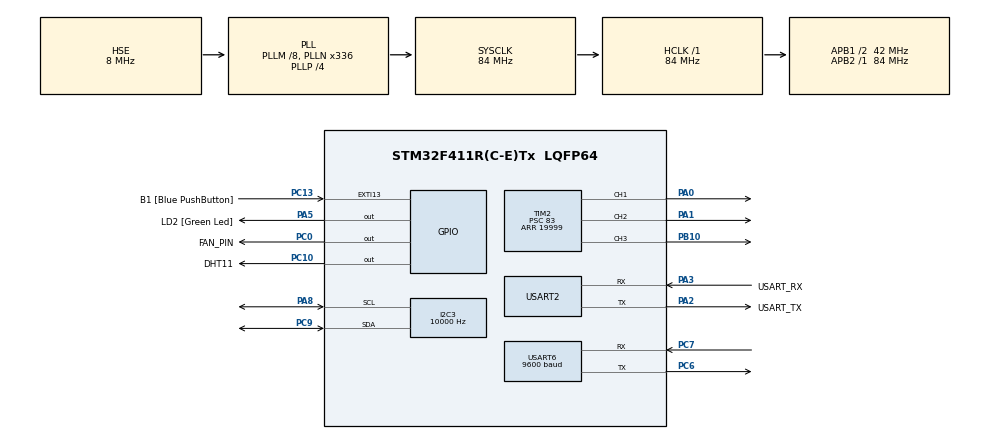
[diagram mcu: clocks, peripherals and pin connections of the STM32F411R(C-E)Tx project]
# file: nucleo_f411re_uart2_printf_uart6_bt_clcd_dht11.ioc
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I2C3.ClockSpeed=10000
Mcu.Family=STM32F4
Mcu.Name=STM32F411R(C-E)Tx
Mcu.Package=LQFP64
NVIC.PriorityGroup=NVIC_PRIORITYGROUP_0
NVIC.USART2_IRQn=true\:0\:0\:false\:false\:true\:true\:true\:true
NVIC.USART6_IRQn=true\:0\:0\:false\:false\:true\:true\:true\:true
PA0-WKUP.Signal=S_TIM2_CH1_ETR
PA1.Signal=S_TIM2_CH2
PA13.GPIO_Label=TMS
PA13.Mode=Serial_Wire
PA13.Signal=SYS_JTMS-SWDIO
PA14.GPIO_Label=TCK
PA14.Mode=Serial_Wire
PA14.Signal=SYS_JTCK-SWCLK
PA2.GPIO_Label=USART_TX
PA2.Mode=Asynchronous
PA2.Signal=USART2_TX
PA3.GPIO_Label=USART_RX
PA3.Mode=Asynchronous
PA3.Signal=USART2_RX
PA5.GPIO_Label=LD2 [Green Led]
PA5.Signal=GPIO_Output
PA8.Mode=I2C
PA8.Signal=I2C3_SCL
PB10.Signal=S_TIM2_CH3
PB3.GPIO_Label=SWO
PB3.Signal=SYS_JTDO-SWO
PC0.GPIO_Label=FAN_PIN
PC0.Signal=GPIO_Output
PC10.GPIO_Label=DHT11
PC10.Signal=GPIO_Output
PC13-ANTI_TAMP.GPIO_Label=B1 [Blue PushButton]
PC13-ANTI_TAMP.GPIO_ModeDefaultEXTI=GPIO_MODE_IT_FALLING
PC13-ANTI_TAMP.Signal=GPXTI13
PC14-OSC32_IN.Mode=LSE-External-Oscillator
PC14-OSC32_IN.Signal=RCC_OSC32_IN
PC15-OSC32_OUT.Mode=LSE-External-Oscillator
PC15-OSC32_OUT.Signal=RCC_OSC32_OUT
PC6.Mode=Asynchronous
PC6.Signal=USART6_TX
PC7.Mode=Asynchronous
PC7.Signal=USART6_RX
PC9.Mode=I2C
PC9.Signal=I2C3_SDA
PH0\ -\ OSC_IN.Mode=HSE-External-Clock-Source
PH0\ -\ OSC_IN.Signal=RCC_OSC_IN
PH1\ -\ OSC_OUT.Mode=HSE-External-Clock-Source
PH1\ -\ OSC_OUT.Signal=RCC_OSC_OUT
ProjectManager.HeapSize=0x200
ProjectManager.StackSize=0x400
ProjectManager.TargetToolchain=STM32CubeIDE
RCC.48MHZClocksFreq_Value=84000000
RCC.AHBFreq_Value=84000000
RCC.APB1CLKDivider=RCC_HCLK_DIV2
RCC.APB1Freq_Value=42000000
RCC.APB1TimFreq_Value=84000000
RCC.APB2Freq_Value=84000000
RCC.APB2TimFreq_Value=84000000
RCC.CortexFreq_Value=84000000
RCC.FLatency-AdvancedSettings=FLASH_LATENCY_2
RCC.HCLKFreq_Value=84000000
RCC.HSE_VALUE=8000000
RCC.HSI_VALUE=16000000
RCC.PLLM=8
RCC.PLLN=336
RCC.PLLP=RCC_PLLP_DIV4
RCC.PLLSourceVirtual=RCC_PLLSOURCE_HSE
RCC.SYSCLKFreq_VALUE=84000000
RCC.SYSCLKSource=RCC_SYSCLKSOURCE_PLLCLK
RCC.VCOOutputFreq_Value=336000000
SH.S_TIM2_CH1_ETR.0=TIM2_CH1,PWM Generation1 CH1
SH.S_TIM2_CH2.0=TIM2_CH2,PWM Generation2 CH2
SH.S_TIM2_CH3.0=TIM2_CH3,PWM Generation3 CH3
TIM2.Channel-PWM\ Generation1\ CH1=TIM_CHANNEL_1
TIM2.Channel-PWM\ Generation2\ CH2=TIM_CHANNEL_2
TIM2.Channel-PWM\ Generation3\ CH3=TIM_CHANNEL_3
TIM2.Period=19999
TIM2.Prescaler=83
TIM2.Pulse-PWM\ Generation1\ CH1=1500
TIM2.Pulse-PWM\ Generation2\ CH2=1500
TIM2.Pulse-PWM\ Generation3\ CH3=1500
USART2.VirtualMode=VM_ASYNC
USART6.BaudRate=9600
USART6.VirtualMode=VM_ASYNC
VP_TIM2_VS_ClockSourceINT.Mode=Internal
board=NUCLEO-F411RE

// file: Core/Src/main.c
/* USER CODE BEGIN Header */
/**
  ******************************************************************************
  * @file           : main.c
  * @brief          : Smart Medicine Dispenser - STM32 Main
  ******************************************************************************
  */
/* USER CODE END Header */

#include "main.h"

/* USER CODE BEGIN Includes */
#include <stdio.h>
#include <string.h>
#include <stdlib.h>
#include <clcd.h>
#include <dht.h>
#include <servo.h>
/* USER CODE END Includes */

/* USER CODE BEGIN PD */
#ifdef __GNUC__
#define PUTCHAR_PROTOTYPE int __io_putchar(int ch)
#else
#define PUTCHAR_PROTOTYPE int fputc(int ch, FILE *f)
#endif

#define ARR_CNT       6
#define CMD_SIZE      100
#define TEMP_FAN      25    // 팬 작동 온도 기준 (°C)
#define TEMP_WARNING  30    // 경고 온도 기준 (°C)
/* USER CODE END PD */

I2C_HandleTypeDef hi2c3;
TIM_HandleTypeDef htim2;
UART_HandleTypeDef huart2;
UART_HandleTypeDef huart6;

/* USER CODE BEGIN PV */
uint8_t rx2char;
volatile unsigned char rx2Flag = 0;
volatile char rx2Data[50];

volatile unsigned char btFlag = 0;
uint8_t btchar;
char btData[100];

char currentUserID[20] = {0};
/* USER CODE END PV */

void SystemClock_Config(void);
static void MX_GPIO_Init(void);
static void MX_USART2_UART_Init(void);
static void MX_USART6_UART_Init(void);
static void MX_I2C3_Init(void);
static void MX_TIM2_Init(void);

/* USER CODE BEGIN PFP */
void bluetooth_Event(void);
void request_medicine(char *userID);
/* USER CODE END PFP */

int main(void)
{
    HAL_Init();
    SystemClock_Config();

    MX_GPIO_Init();
    MX_USART2_UART_Init();
    MX_USART6_UART_Init();
    MX_I2C3_Init();
    MX_TIM2_Init();

    /* USER CODE BEGIN 2 */
    HAL_UART_Receive_IT(&huart2, &rx2char, 1);
    HAL_UART_Receive_IT(&huart6, &btchar,  1);

    DHT11_Init();
    LCD_init(&hi2c3);

    HAL_TIM_PWM_Start(&htim2, TIM_CHANNEL_1);  // SERVO1
    HAL_TIM_PWM_Start(&htim2, TIM_CHANNEL_2);  // SERVO2
    HAL_TIM_PWM_Start(&htim2, TIM_CHANNEL_3);  // SERVO3

    // 팬 초기 OFF
    HAL_GPIO_WritePin(GPIOC, FAN_PIN_Pin, GPIO_PIN_RESET);

    DHT11_TypeDef dht11Data;
    char buff[30];

    LCD_writeStringXY(0, 0, "SmartDispenser ");
    LCD_writeStringXY(1, 0, "Ready...       ");
    printf("start main()\r\n");
    /* USER CODE END 2 */

    /* USER CODE BEGIN WHILE */
    while (1)
    {
        /* ── USART2: UserID 입력 (테스트용 시리얼) ── */
        if (rx2Flag)
        {
            printf("recv2 : %s\r\n", rx2Data);
            strcpy(currentUserID, (char*)rx2Data);
            request_medicine(currentUserID);
            rx2Flag = 0;
        }

        /* ── USART6: 블루투스 수신 처리 ── */
        if (btFlag)
        {
            btFlag = 0;
            bluetooth_Event();
        }

        /* ── 환경 모니터링: DHT11 읽기 ── */
        dht11Data = DHT11_readData();
        int temp = dht11Data.temp_byte1;
        int humi = dht11Data.rh_byte1;

        /* ── 온도 기반 팬 제어 ── */
        if (temp >= TEMP_WARNING)
        {
            // 경고 온도 이상 → 팬 ON + LCD 경고
            HAL_GPIO_WritePin(GPIOC, FAN_PIN_Pin, GPIO_PIN_SET);
            LCD_writeStringXY(0, 0, "!!TEMP ALERT!!! ");
            printf("경고: 온도 %d도 초과!\r\n", temp);
        }
        else if (temp >= TEMP_FAN)
        {
            // 기준 온도 이상 → 팬 ON
            HAL_GPIO_WritePin(GPIOC, FAN_PIN_Pin, GPIO_PIN_SET);
            LCD_writeStringXY(0, 0, "Fan ON          ");
        }
        else
        {
            // 정상 온도 → 팬 OFF
            HAL_GPIO_WritePin(GPIOC, FAN_PIN_Pin, GPIO_PIN_RESET);
            LCD_writeStringXY(0, 0, "SmartDispenser  ");
        }

        // LCD 2행: 온습도 표시
        sprintf(buff, "h:%d%% t:%d'C    ", humi, temp);
        LCD_writeStringXY(1, 0, buff);

        /* ── 환경 데이터: 5초마다 라즈베리파이 전송 ── */
        static uint32_t lastEnvTick = 0;
        if (HAL_GetTick() - lastEnvTick >= 10000)
        {
            char envBuf[CMD_SIZE];
            sprintf(envBuf, "[ENV@TEMP:%d.%d@HUM:%d]\n",
                    dht11Data.temp_byte1,
                    dht11Data.temp_byte2,
                    dht11Data.rh_byte1);
            HAL_UART_Transmit(&huart6, (uint8_t*)envBuf,
                              strlen(envBuf), 0xFFFF);
            lastEnvTick = HAL_GetTick();
        }

        HAL_Delay(500);
        /* USER CODE END WHILE */

    }
}

/* ============================================================
 * request_medicine()
 * UserID 입력 시 DOC에 PICKUP 요청
 * ============================================================ */
void request_medicine(char *userID)
{
    char reqBuf[CMD_SIZE] = {0};
    sprintf(reqBuf, "[DOC]PICKUP@%s\n", userID);
    HAL_UART_Transmit(&huart6, (uint8_t*)reqBuf,
                      strlen(reqBuf), 0xFFFF);
    printf("PICKUP 요청: %s\r\n", reqBuf);
    LCD_writeStringXY(0, 0, "Requesting...  ");
}

/* ============================================================
 * bluetooth_Event()
 * ============================================================ */
void bluetooth_Event(void)
{
    int i = 0;
    char *pToken;
    char *pArray[ARR_CNT] = {0};
    char recvBuf[CMD_SIZE] = {0};

    strncpy(recvBuf, btData, CMD_SIZE - 1);
    printf("btData : %s\r\n", btData);

    pToken = strtok(recvBuf, "[@]");
    while (pToken != NULL) {
        pArray[i] = pToken;
        if (++i >= ARR_CNT) break;
        pToken = strtok(NULL, "[@]");
    }

    if (i < 2 || pArray[1] == NULL) return;

    /* ──────────────────────────────────────────────
     * [1] DOC → STM32 : PICKUP 응답
     * 성공: [STM]PICKUP@Tylenol@2@1
     *   pArray[2] = 약이름
     *   pArray[3] = 개수
     *   pArray[4] = ServoChannel (1=CH1, 2=CH2, 3=CH3)
     * 실패: [STM]PICKUP@FAIL_XXX@0
     * ────────────────────────────────────────────── */
    if (!strcmp(pArray[1], "PICKUP"))
    {
        if (pArray[2] == NULL) return;

        /* ── 실패 처리 ── */
        if (!strncmp(pArray[2], "FAIL", 4))
        {
            printf("PICKUP 실패: %s\r\n", pArray[2]);

            if      (!strcmp(pArray[2], "FAIL_EMPTY"))
                LCD_writeStringXY(0, 0, "No Prescription");
            else if (!strcmp(pArray[2], "FAIL_DB"))
                LCD_writeStringXY(0, 0, "DB Error       ");
            else if (!strcmp(pArray[2], "FAIL_STOCK"))
                LCD_writeStringXY(0, 0, "Out of Stock!  ");
            else if (!strcmp(pArray[2], "FAIL_24H_LIMIT"))
                LCD_writeStringXY(0, 0, "24H Limit!     ");
            else if (!strcmp(pArray[2], "FAIL_TOTAL_LIMIT"))
                LCD_writeStringXY(0, 0, "Total Limit!   ");
            else if (!strcmp(pArray[2], "FAIL_OVERDOSE"))
                LCD_writeStringXY(0, 0, "Overdose Risk! ");
            else if (!strcmp(pArray[2], "FAIL_AGE_LIMIT"))
                LCD_writeStringXY(0, 0, "Age Restricted!");
            else if (!strcmp(pArray[2], "FAIL_ALLERGY"))
                LCD_writeStringXY(0, 0, "Allergy Alert! ");
            else
                LCD_writeStringXY(0, 0, "Error!         ");

            memset(currentUserID, 0, sizeof(currentUserID));
            return;
        }

        /* ── 성공: 배출 승인 ── */
        char    *medName      = pArray[2];
        uint8_t  count        = (pArray[3] != NULL) ? atoi(pArray[3]) : 0;
        uint8_t  servo_ch_num = (pArray[4] != NULL) ? atoi(pArray[4]) : 1;

        if (count == 0) {
            LCD_writeStringXY(0, 0, "Count Error!   ");
            memset(currentUserID, 0, sizeof(currentUserID));
            return;
        }

        /* DB에서 받은 ServoChannel 사용 */
        uint32_t channel;
        switch (servo_ch_num) {
            case 1:  channel = TIM_CHANNEL_1; break;
            case 2:  channel = TIM_CHANNEL_2; break;
            case 3:  channel = TIM_CHANNEL_3; break;
            default: channel = TIM_CHANNEL_1; break;
        }

        printf("배출 승인: %s %d알 ServoChannel:%d\r\n",
               medName, count, servo_ch_num);
        LCD_writeStringXY(0, 0, "Dispensing...  ");

        /* 서보 작동 */
        dispense_n(channel, count);

        /* 배출 완료 → DOC에 알림 */
        char doneBuf[CMD_SIZE] = {0};
        sprintf(doneBuf, "[DOC]PICKUP_DONE@%s@%s@%d\n",
                currentUserID, medName, count);
        HAL_UART_Transmit(&huart6, (uint8_t*)doneBuf,
                          strlen(doneBuf), 0xFFFF);

        LCD_writeStringXY(0, 0, "Done!          ");
        printf("배출 완료: %s\r\n", doneBuf);

        memset(currentUserID, 0, sizeof(currentUserID));
    }

    /* ──────────────────────────────────────────────
     * [2] DOC → STM32 : PRESCRIPTION 알림 (예약 완료)
     * ────────────────────────────────────────────── */
    else if (!strcmp(pArray[1], "PRESCRIPTION"))
    {
        if (pArray[2] == NULL) return;

        if (!strncmp(pArray[2], "FAIL", 4)) {
            printf("PRESCRIPTION 실패: %s\r\n", pArray[2]);

            if      (!strcmp(pArray[2], "FAIL_SYMPTOM"))
                LCD_writeStringXY(0, 0, "Unknown Symptom");
            else if (!strcmp(pArray[2], "FAIL_ALLERGY"))
                LCD_writeStringXY(0, 0, "Allergy Alert! ");
            else if (!strcmp(pArray[2], "FAIL_24H_LIMIT"))
                LCD_writeStringXY(0, 0, "24H Limit!     ");
            else if (!strcmp(pArray[2], "FAIL_TOTAL_LIMIT"))
                LCD_writeStringXY(0, 0, "Total Limit!   ");
            else if (!strcmp(pArray[2], "FAIL_OVERDOSE"))
                LCD_writeStringXY(0, 0, "Overdose Risk! ");
            else if (!strcmp(pArray[2], "FAIL_AGE_LIMIT"))
                LCD_writeStringXY(0, 0, "Age Restricted!");
            else if (!strcmp(pArray[2], "FAIL_ALREADY_RESERVED"))
                LCD_writeStringXY(0, 0, "Already Reservd");
            else
                LCD_writeStringXY(0, 0, "Prescrip. Fail ");
        }
        else {
            printf("처방 예약 완료: %s %s알\r\n",
                   pArray[2], pArray[3] ? pArray[3] : "?");
            LCD_writeStringXY(0, 0, "Reserved!      ");
        }
    }

    /* ──────────────────────────────────────────────
     * [3] 테스트용 직접 명령
     * ────────────────────────────────────────────── */
    else if (!strcmp(pArray[1], "DISPENSE"))
    {
        if (pArray[2] == NULL || pArray[3] == NULL || pArray[4] == NULL)
            return;

        uint8_t cnt1 = atoi(strchr(pArray[2], ':') + 1);
        uint8_t cnt2 = atoi(strchr(pArray[3], ':') + 1);
        uint8_t cnt3 = atoi(strchr(pArray[4], ':') + 1);

        dispense_n(TIM_CHANNEL_1, cnt1);
        dispense_n(TIM_CHANNEL_2, cnt2);
        dispense_n(TIM_CHANNEL_3, cnt3);

        char doneBuf[CMD_SIZE] = {0};
        sprintf(doneBuf, "[DONE@%s@%s@%s]\n",
                pArray[2], pArray[3], pArray[4]);
        HAL_UART_Transmit(&huart6, (uint8_t*)doneBuf,
                          strlen(doneBuf), 0xFFFF);
    }
}

/* ============================================================
 * HAL_UART_RxCpltCallback
 * ============================================================ */
void HAL_UART_RxCpltCallback(UART_HandleTypeDef *huart)
{
    if (huart->Instance == USART2)
    {
        static int i = 0;
        rx2Data[i] = rx2char;
        if ((rx2Data[i] == '\r') || (rx2Data[i] == '\n'))
        {
            rx2Data[i] = '\0';
            rx2Flag = 1;
            i = 0;
        }
        else
        {
            if (i < 48) i++;
        }
        HAL_UART_Receive_IT(&huart2, &rx2char, 1);
    }

    if (huart->Instance == USART6)
    {
        static int i = 0;
        btData[i] = btchar;
        if ((btData[i] == '\n') || (btData[i] == '\r'))
        {
            btData[i] = '\0';
            btFlag = 1;
            i = 0;
        }
        else
        {
            if (i < 98) i++;
        }
        HAL_UART_Receive_IT(&huart6, &btchar, 1);
    }
}

/* ============================================================
 * printf → USART2 리다이렉트
 * ============================================================ */
PUTCHAR_PROTOTYPE
{
    HAL_UART_Transmit(&huart2, (uint8_t*)&ch, 1, 0xFFFF);
    return ch;
}

/* ============================================================
 * 주변장치 초기화 (CubeMX 생성)
 * ============================================================ */
void SystemClock_Config(void)
{
    RCC_OscInitTypeDef RCC_OscInitStruct = {0};
    RCC_ClkInitTypeDef RCC_ClkInitStruct = {0};

    __HAL_RCC_PWR_CLK_ENABLE();
    __HAL_PWR_VOLTAGESCALING_CONFIG(PWR_REGULATOR_VOLTAGE_SCALE1);

    RCC_OscInitStruct.OscillatorType = RCC_OSCILLATORTYPE_HSE;
    RCC_OscInitStruct.HSEState       = RCC_HSE_BYPASS;
    RCC_OscInitStruct.PLL.PLLState   = RCC_PLL_ON;
    RCC_OscInitStruct.PLL.PLLSource  = RCC_PLLSOURCE_HSE;
    RCC_OscInitStruct.PLL.PLLM = 8;
    RCC_OscInitStruct.PLL.PLLN = 336;
    RCC_OscInitStruct.PLL.PLLP = RCC_PLLP_DIV4;
    RCC_OscInitStruct.PLL.PLLQ = 4;
    if (HAL_RCC_OscConfig(&RCC_OscInitStruct) != HAL_OK) Error_Handler();

    RCC_ClkInitStruct.ClockType      = RCC_CLOCKTYPE_HCLK | RCC_CLOCKTYPE_SYSCLK
                                     | RCC_CLOCKTYPE_PCLK1 | RCC_CLOCKTYPE_PCLK2;
    RCC_ClkInitStruct.SYSCLKSource   = RCC_SYSCLKSOURCE_PLLCLK;
    RCC_ClkInitStruct.AHBCLKDivider  = RCC_SYSCLK_DIV1;
    RCC_ClkInitStruct.APB1CLKDivider = RCC_HCLK_DIV2;
    RCC_ClkInitStruct.APB2CLKDivider = RCC_HCLK_DIV1;
    if (HAL_RCC_ClockConfig(&RCC_ClkInitStruct, FLASH_LATENCY_2) != HAL_OK) Error_Handler();
}

static void MX_I2C3_Init(void)
{
    hi2c3.Instance              = I2C3;
    hi2c3.Init.ClockSpeed       = 10000;
    hi2c3.Init.DutyCycle        = I2C_DUTYCYCLE_2;
    hi2c3.Init.OwnAddress1      = 0;
    hi2c3.Init.AddressingMode   = I2C_ADDRESSINGMODE_7BIT;
    hi2c3.Init.DualAddressMode  = I2C_DUALADDRESS_DISABLE;
    hi2c3.Init.OwnAddress2      = 0;
    hi2c3.Init.GeneralCallMode  = I2C_GENERALCALL_DISABLE;
    hi2c3.Init.NoStretchMode    = I2C_NOSTRETCH_DISABLE;
    if (HAL_I2C_Init(&hi2c3) != HAL_OK) Error_Handler();
}

static void MX_TIM2_Init(void)
{
    TIM_ClockConfigTypeDef  sClockSourceConfig = {0};
    TIM_MasterConfigTypeDef sMasterConfig      = {0};
    TIM_OC_InitTypeDef      sConfigOC          = {0};

    htim2.Instance               = TIM2;
    htim2.Init.Prescaler         = 83;
    htim2.Init.CounterMode       = TIM_COUNTERMODE_UP;
    htim2.Init.Period            = 19999;
    htim2.Init.ClockDivision     = TIM_CLOCKDIVISION_DIV1;
    htim2.Init.AutoReloadPreload = TIM_AUTORELOAD_PRELOAD_DISABLE;
    if (HAL_TIM_Base_Init(&htim2) != HAL_OK) Error_Handler();

    sClockSourceConfig.ClockSource = TIM_CLOCKSOURCE_INTERNAL;
    if (HAL_TIM_ConfigClockSource(&htim2, &sClockSourceConfig) != HAL_OK) Error_Handler();
    if (HAL_TIM_PWM_Init(&htim2) != HAL_OK) Error_Handler();

    sMasterConfig.MasterOutputTrigger = TIM_TRGO_RESET;
    sMasterConfig.MasterSlaveMode     = TIM_MASTERSLAVEMODE_DISABLE;
    if (HAL_TIMEx_MasterConfigSynchronization(&htim2, &sMasterConfig) != HAL_OK) Error_Handler();

    sConfigOC.OCMode     = TIM_OCMODE_PWM1;
    sConfigOC.Pulse      = 1500;
    sConfigOC.OCPolarity = TIM_OCPOLARITY_HIGH;
    sConfigOC.OCFastMode = TIM_OCFAST_DISABLE;
    if (HAL_TIM_PWM_ConfigChannel(&htim2, &sConfigOC, TIM_CHANNEL_1) != HAL_OK) Error_Handler();
    if (HAL_TIM_PWM_ConfigChannel(&htim2, &sConfigOC, TIM_CHANNEL_2) != HAL_OK) Error_Handler();
    if (HAL_TIM_PWM_ConfigChannel(&htim2, &sConfigOC, TIM_CHANNEL_3) != HAL_OK) Error_Handler();

    HAL_TIM_MspPostInit(&htim2);
}

static void MX_USART2_UART_Init(void)
{
    huart2.Instance          = USART2;
    huart2.Init.BaudRate     = 115200;
    huart2.Init.WordLength   = UART_WORDLENGTH_8B;
    huart2.Init.StopBits     = UART_STOPBITS_1;
    huart2.Init.Parity       = UART_PARITY_NONE;
    huart2.Init.Mode         = UART_MODE_TX_RX;
    huart2.Init.HwFlowCtl    = UART_HWCONTROL_NONE;
    huart2.Init.OverSampling = UART_OVERSAMPLING_16;
    if (HAL_UART_Init(&huart2) != HAL_OK) Error_Handler();
}

static void MX_USART6_UART_Init(void)
{
    huart6.Instance          = USART6;
    huart6.Init.BaudRate     = 9600;
    huart6.Init.WordLength   = UART_WORDLENGTH_8B;
    huart6.Init.StopBits     = UART_STOPBITS_1;
    huart6.Init.Parity       = UART_PARITY_NONE;
    huart6.Init.Mode         = UART_MODE_TX_RX;
    huart6.Init.HwFlowCtl    = UART_HWCONTROL_NONE;
    huart6.Init.OverSampling = UART_OVERSAMPLING_16;
    if (HAL_UART_Init(&huart6) != HAL_OK) Error_Handler();
}

static void MX_GPIO_Init(void)
{
    GPIO_InitTypeDef GPIO_InitStruct = {0};

    __HAL_RCC_GPIOC_CLK_ENABLE();
    __HAL_RCC_GPIOH_CLK_ENABLE();
    __HAL_RCC_GPIOA_CLK_ENABLE();
    __HAL_RCC_GPIOB_CLK_ENABLE();

    /* FAN_PIN, DHT11 초기 LOW */
    HAL_GPIO_WritePin(GPIOC, FAN_PIN_Pin | DHT11_Pin, GPIO_PIN_RESET);
    HAL_GPIO_WritePin(LD2_GPIO_Port, LD2_Pin, GPIO_PIN_RESET);

    /* B1 버튼 */
    GPIO_InitStruct.Pin  = B1_Pin;
    GPIO_InitStruct.Mode = GPIO_MODE_IT_FALLING;
    GPIO_InitStruct.Pull = GPIO_NOPULL;
    HAL_GPIO_Init(B1_GPIO_Port, &GPIO_InitStruct);

    /* FAN_PIN + DHT11 (GPIOC) */
    GPIO_InitStruct.Pin   = FAN_PIN_Pin | DHT11_Pin;
    GPIO_InitStruct.Mode  = GPIO_MODE_OUTPUT_PP;
    GPIO_InitStruct.Pull  = GPIO_NOPULL;
    GPIO_InitStruct.Speed = GPIO_SPEED_FREQ_LOW;
    HAL_GPIO_Init(GPIOC, &GPIO_InitStruct);

    /* LD2 LED */
    GPIO_InitStruct.Pin   = LD2_Pin;
    GPIO_InitStruct.Mode  = GPIO_MODE_OUTPUT_PP;
    GPIO_InitStruct.Pull  = GPIO_NOPULL;
    GPIO_InitStruct.Speed = GPIO_SPEED_FREQ_LOW;
    HAL_GPIO_Init(LD2_GPIO_Port, &GPIO_InitStruct);
}

void Error_Handler(void)
{
    __disable_irq();
    while (1) {}
}
